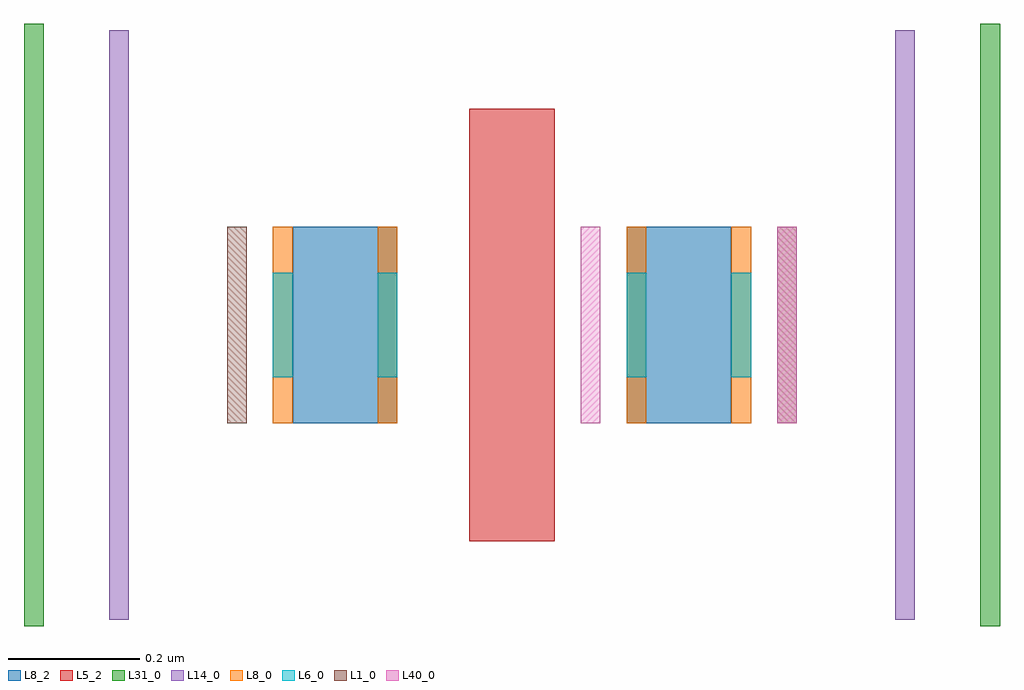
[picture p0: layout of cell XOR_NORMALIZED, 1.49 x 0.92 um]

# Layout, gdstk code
import gdstk
lib = gdstk.Library(unit=1e-6, precision=1e-09)
def R(c, l, rs):  # rectangles x0, y0, x1, y1
    for r in rs: c.add(gdstk.rectangle(r[:2], r[2:], *l))
L1_0 = (1, 0)
L5_2 = (5, 2)
L6_0 = (6, 0)
L8_0 = (8, 0)
L8_2 = (8, 2)
L14_0 = (14, 0)
L31_0 = (31, 0)
L40_0 = (40, 0)

xor_normalized = lib.new_cell('XOR_NORMALIZED')
R(xor_normalized, L1_0, [(-0.435,-0.15,-0.405,0.15), (0.405,-0.15,0.435,0.15)])
R(xor_normalized, L5_2, [(-0.065,-0.33,0.065,0.33)])
R(xor_normalized, L6_0, [(-0.365,-0.08,-0.335,0.08), (-0.205,-0.08,-0.175,0.08), (0.175,-0.08,0.205,0.08), (0.335,-0.08,0.365,0.08)])
R(xor_normalized, L8_0, [(-0.365,-0.15,-0.335,0.15), (-0.205,-0.15,-0.175,0.15), (0.175,-0.15,0.205,0.15), (0.335,-0.15,0.365,0.15)])
R(xor_normalized, L8_2, [(-0.335,-0.15,-0.175,0.15), (0.175,-0.15,0.335,0.15)])
R(xor_normalized, L14_0, [(-0.615,-0.45,-0.585,0.45), (0.585,-0.45,0.615,0.45)])
R(xor_normalized, L31_0, [(-0.745,-0.46,-0.715,0.46), (0.715,-0.46,0.745,0.46)])
R(xor_normalized, L40_0, [(0.105,-0.15,0.135,0.15), (0.405,-0.15,0.435,0.15)])

lib.write_gds('XOR_NORMALIZED.gds')
